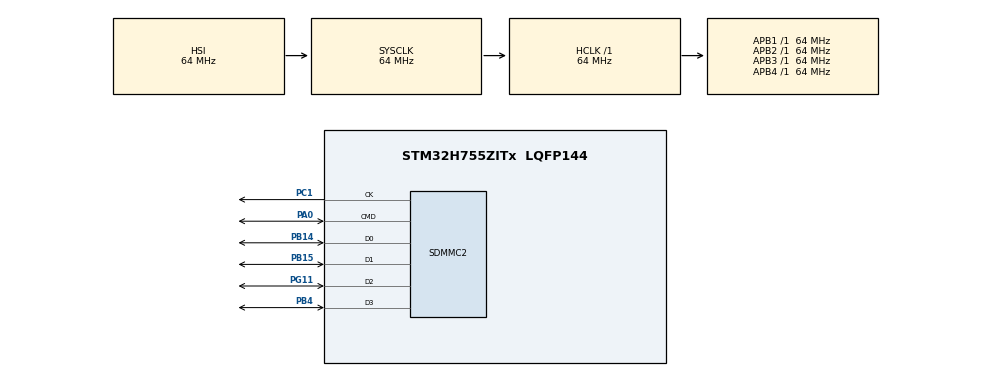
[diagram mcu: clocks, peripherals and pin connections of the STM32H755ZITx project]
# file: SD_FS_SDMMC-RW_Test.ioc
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CORTEX_M7.default_mode_Activation=1
CortexM4.IPs=CORTEX_M4\:I,FATFS_M4\:I,FREERTOS_M4\:I,IWDG2\:I,OPENAMP_M4\:I,PDM2PCM_M4\:I,PWR,RCC,RESMGR_UTILITY,SYS_M4\:I,USB_DEVICE_M4\:I,USB_HOST_M4\:I,VREFBUF,WWDG2\:I,GPIO,DMA,BDMA,MDMA,NVIC2\:I
CortexM7.IPs=CORTEX_M7\:I,FATFS_M7\:I,FREERTOS_M7\:I,IWDG1\:I,OPENAMP_M7\:I,PDM2PCM_M7\:I,PWR\:I,RCC\:I,RESMGR_UTILITY\:I,SYS\:I,USB_DEVICE_M7\:I,USB_HOST_M7\:I,VREFBUF\:I,WWDG1\:I,GPIO\:I,DMA\:I,BDMA\:I,MDMA\:I,NVIC1\:I,SDMMC2\:I
FATFS_M7._MAX_SS=4096
FATFS_M7._USE_LFN=1
Mcu.Family=STM32H7
Mcu.Name=STM32H755ZITx
Mcu.Package=LQFP144
NVIC1.PriorityGroup=NVIC_PRIORITYGROUP_4
NVIC2.PriorityGroup=NVIC_PRIORITYGROUP_4
PA0.Mode=SD_4_bits_Wide_bus
PA0.PinAttribute=CortexM7
PA0.Signal=SDMMC2_CMD
PB14.Mode=SD_4_bits_Wide_bus
PB14.PinAttribute=CortexM7
PB14.Signal=SDMMC2_D0
PB15.Mode=SD_4_bits_Wide_bus
PB15.PinAttribute=CortexM7
PB15.Signal=SDMMC2_D1
PB4\ (NJTRST).Mode=SD_4_bits_Wide_bus
PB4\ (NJTRST).PinAttribute=CortexM7
PB4\ (NJTRST).Signal=SDMMC2_D3
PC1.Mode=SD_4_bits_Wide_bus
PC1.PinAttribute=CortexM7
PC1.Signal=SDMMC2_CK
PG11.Mode=SD_4_bits_Wide_bus
PG11.PinAttribute=CortexM7
PG11.Signal=SDMMC2_D2
ProjectManager.HeapSize=M4-0x200,M7-0x600
ProjectManager.StackSize=M4-0x400,M7-0x800
ProjectManager.TargetToolchain=STM32CubeIDE
RCC.ADCFreq_Value=129000000
RCC.APB1Freq_Value=64000000
RCC.APB2Freq_Value=64000000
RCC.APB3Freq_Value=64000000
RCC.APB4Freq_Value=64000000
RCC.CortexFreq_Value=64000000
RCC.DIVM1=4
RCC.DIVN1=9
RCC.HCLKFreq_Value=64000000
RCC.PLLFRACN=3072
RCC.SYSCLKFreq_VALUE=64000000
RCC.USBFreq_Value=75000000
SDMMC2.ClockDiv=8
SYS.userName=SYS_M7
VP_FATFS_M7_VS_SDIO.Mode=SDIO
VP_SYS_M4_VS_Systick.Mode=SysTick
board=custom

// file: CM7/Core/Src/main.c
/* USER CODE BEGIN Header */
/**
  ******************************************************************************
  * @file           : main.c
  * @brief          : Main program body
  ******************************************************************************
  * @attention
  *
  * Copyright (c) 2026 STMicroelectronics.
  * All rights reserved.
  *
  * This software is licensed under terms that can be found in the LICENSE file
  * in the root directory of this software component.
  * If no LICENSE file comes with this software, it is provided AS-IS.
  *
  ******************************************************************************
  */
/* USER CODE END Header */
#include "main.h"
#include "fatfs.h"
#include "sdmmc.h"
#include "gpio.h"
//#include "usb_device.h"
//#include "usbd_cdc_if.h"
#include <stdio.h>
#include <string.h>

/* USER CODE BEGIN PD */

/* DUAL_CORE_BOOT_SYNC_SEQUENCE:
 * Define for dual core bot synchronization
 * demonstration code based on hardware semaphore
 * This define is present in both CM7/CM4 projects
 * To comment when developping/debugging on a single core
 * */

// Re-enable once CM4 firmware is flashed and coordinating with CM7.
//#define DUAL_CORE_BOOT_SYNC_SEQUENCE

#if defined(DUAL_CORE_BOOT_SYNC_SEQUENCE)
#ifndef HSEM_ID_0
#define HSEM_ID_0 (0U) /* HW semaphore 0*/
#endif
#endif /* DUAL_CORE_BOOT_SYNC_SEQUENCE */

/* USER CODE END PD */

void SystemClock_Config(void);
static void MPU_Config(void);

/* USER CODE BEGIN 0 */
char TxBuffer[250];
static void SDIO_SDCard_Test(void);
/* USER CODE END 0 */

int main(void)
{

/* USER CODE BEGIN Boot_Mode_Sequence_0 */
#if defined(DUAL_CORE_BOOT_SYNC_SEQUENCE)
  int32_t timeout;
#endif /* DUAL_CORE_BOOT_SYNC_SEQUENCE */
/* USER CODE END Boot_Mode_Sequence_0 */

  /* MPU Configuration--------------------------------------------------------*/
  MPU_Config();

/* USER CODE BEGIN Boot_Mode_Sequence_1 */
#if defined(DUAL_CORE_BOOT_SYNC_SEQUENCE)
  /* Wait until CPU2 boots and enters in stop mode or timeout*/
  timeout = 0xFFFF;
  while((__HAL_RCC_GET_FLAG(RCC_FLAG_D2CKRDY) != RESET) && (timeout-- > 0));
  if ( timeout < 0 )
  {
  Error_Handler();
  }
#endif /* DUAL_CORE_BOOT_SYNC_SEQUENCE */
/* USER CODE END Boot_Mode_Sequence_1 */
  /* MCU Configuration--------------------------------------------------------*/

  /* Reset of all peripherals, Initializes the Flash interface and the Systick. */
  HAL_Init();

  /* Configure the system clock */
  SystemClock_Config();
/* USER CODE BEGIN Boot_Mode_Sequence_2 */
#if defined(DUAL_CORE_BOOT_SYNC_SEQUENCE)
/* When system initialization is finished, Cortex-M7 will release Cortex-M4 by means of
HSEM notification */
/*HW semaphore Clock enable*/
__HAL_RCC_HSEM_CLK_ENABLE();
/*Take HSEM */
HAL_HSEM_FastTake(HSEM_ID_0);
/*Release HSEM in order to notify the CPU2(CM4)*/
HAL_HSEM_Release(HSEM_ID_0,0);
/* wait until CPU2 wakes up from stop mode */
timeout = 0xFFFF;
while((__HAL_RCC_GET_FLAG(RCC_FLAG_D2CKRDY) == RESET) && (timeout-- > 0));
if ( timeout < 0 )
{
Error_Handler();
}
#endif /* DUAL_CORE_BOOT_SYNC_SEQUENCE */
/* USER CODE END Boot_Mode_Sequence_2 */

  /* Initialize all configured peripherals */
  MX_GPIO_Init();
  MX_SDMMC2_SD_Init();
  MX_FATFS_Init();
  /* USER CODE BEGIN 2 */

  //MX_USB_DEVICE_Init();
    // Test The SDIO SD Card Interface
   HAL_Delay(5000); // This delay is not mandatory but it gives me some time to connect the USB cable and open the terminal
   SDIO_SDCard_Test();

  /* USER CODE END 2 */

  /* Infinite loop */
  while (1)
  {

  }
}

void SystemClock_Config(void)
{
  RCC_OscInitTypeDef RCC_OscInitStruct = {0};
  RCC_ClkInitTypeDef RCC_ClkInitStruct = {0};

  /** Supply configuration update enable
  */
  HAL_PWREx_ConfigSupply(PWR_DIRECT_SMPS_SUPPLY);

  /** Configure the main internal regulator output voltage
  */
  __HAL_PWR_VOLTAGESCALING_CONFIG(PWR_REGULATOR_VOLTAGE_SCALE3);

  while(!__HAL_PWR_GET_FLAG(PWR_FLAG_VOSRDY)) {}

  /** Initializes the RCC Oscillators according to the specified parameters
  * in the RCC_OscInitTypeDef structure.
  */
  RCC_OscInitStruct.OscillatorType = RCC_OSCILLATORTYPE_HSI;
  RCC_OscInitStruct.HSIState = RCC_HSI_DIV1;
  RCC_OscInitStruct.HSICalibrationValue = RCC_HSICALIBRATION_DEFAULT;
  RCC_OscInitStruct.PLL.PLLState = RCC_PLL_ON;
  RCC_OscInitStruct.PLL.PLLSource = RCC_PLLSOURCE_HSI;
  RCC_OscInitStruct.PLL.PLLM = 4;
  RCC_OscInitStruct.PLL.PLLN = 9;
  RCC_OscInitStruct.PLL.PLLP = 2;
  RCC_OscInitStruct.PLL.PLLQ = 2;
  RCC_OscInitStruct.PLL.PLLR = 2;
  RCC_OscInitStruct.PLL.PLLRGE = RCC_PLL1VCIRANGE_3;
  RCC_OscInitStruct.PLL.PLLVCOSEL = RCC_PLL1VCOMEDIUM;
  RCC_OscInitStruct.PLL.PLLFRACN = 3072;
  if (HAL_RCC_OscConfig(&RCC_OscInitStruct) != HAL_OK)
  {
    Error_Handler();
  }

  /** Initializes the CPU, AHB and APB buses clocks
  */
  RCC_ClkInitStruct.ClockType = RCC_CLOCKTYPE_HCLK|RCC_CLOCKTYPE_SYSCLK
                              |RCC_CLOCKTYPE_PCLK1|RCC_CLOCKTYPE_PCLK2
                              |RCC_CLOCKTYPE_D3PCLK1|RCC_CLOCKTYPE_D1PCLK1;
  RCC_ClkInitStruct.SYSCLKSource = RCC_SYSCLKSOURCE_HSI;
  RCC_ClkInitStruct.SYSCLKDivider = RCC_SYSCLK_DIV1;
  RCC_ClkInitStruct.AHBCLKDivider = RCC_HCLK_DIV1;
  RCC_ClkInitStruct.APB3CLKDivider = RCC_APB3_DIV1;
  RCC_ClkInitStruct.APB1CLKDivider = RCC_APB1_DIV1;
  RCC_ClkInitStruct.APB2CLKDivider = RCC_APB2_DIV1;
  RCC_ClkInitStruct.APB4CLKDivider = RCC_APB4_DIV1;

  if (HAL_RCC_ClockConfig(&RCC_ClkInitStruct, FLASH_LATENCY_1) != HAL_OK)
  {
    Error_Handler();
  }
}

/* USER CODE BEGIN 4 */
static void SDIO_SDCard_Test(void)
{
  FATFS FatFs;
  FIL Fil;
  FRESULT FR_Status;
  FATFS *FS_Ptr;
  UINT RWC, WWC; // Read/Write Word Counter
  DWORD FreeClusters;
  uint32_t TotalSize, FreeSpace;
  char RW_Buffer[200];
  do
  {
    //------------------[ Mount The SD Card ]--------------------
    FR_Status = f_mount(&FatFs, SDPath, 1);
    if (FR_Status != FR_OK)
    {
      sprintf(TxBuffer, "Error! While Mounting SD Card, Error Code: (%i)\r\n", FR_Status);
      //USB_CDC_Print(TxBuffer);
      break;
    }
    sprintf(TxBuffer, "SD Card Mounted Successfully! \r\n\n");
    //USB_CDC_Print(TxBuffer);
    //------------------[ Get & Print The SD Card Size & Free Space ]--------------------
    f_getfree("", &FreeClusters, &FS_Ptr);
    TotalSize = (uint32_t)((FS_Ptr->n_fatent - 2) * FS_Ptr->csize * 0.5);
    FreeSpace = (uint32_t)(FreeClusters * FS_Ptr->csize * 0.5);
    sprintf(TxBuffer, "Total SD Card Size: %lu Bytes\r\n", TotalSize);
    //USB_CDC_Print(TxBuffer);
    sprintf(TxBuffer, "Free SD Card Space: %lu Bytes\r\n\n", FreeSpace);
    //USB_CDC_Print(TxBuffer);
    //------------------[ Open A Text File For Write & Write Data ]--------------------
    //Open the file
    FR_Status = f_open(&Fil, "MyTextFile.txt", FA_WRITE | FA_READ | FA_CREATE_ALWAYS);
    if(FR_Status != FR_OK)
    {
      sprintf(TxBuffer, "Error! While Creating/Opening A New Text File, Error Code: (%i)\r\n", FR_Status);
      //USB_CDC_Print(TxBuffer);
      break;
    }
    sprintf(TxBuffer, "Text File Created & Opened! Writing Data To The Text File..\r\n\n");
    //USB_CDC_Print(TxBuffer);
    // (1) Write Data To The Text File [ Using f_puts() Function ]
    f_puts("Hello! From STM32 To SD Card Over SDMMC, Using f_puts()\n", &Fil);
    // (2) Write Data To The Text File [ Using f_write() Function ]
    strcpy(RW_Buffer, "Hello! From STM32 To SD Card Over SDMMC, Using f_write()\r\n");
    f_write(&Fil, RW_Buffer, strlen(RW_Buffer), &WWC);
    // Close The File
    f_close(&Fil);
    //------------------[ Open A Text File For Read & Read Its Data ]--------------------
    // Open The File
    FR_Status = f_open(&Fil, "MyTextFile.txt", FA_READ);
    if(FR_Status != FR_OK)
    {
      sprintf(TxBuffer, "Error! While Opening (MyTextFile.txt) File For Read.. \r\n");
      //USB_CDC_Print(TxBuffer);
      break;
    }
    // (1) Read The Text File's Data [ Using f_gets() Function ]
    f_gets(RW_Buffer, sizeof(RW_Buffer), &Fil);
    sprintf(TxBuffer, "Data Read From (MyTextFile.txt) Using f_gets():%s", RW_Buffer);
    //USB_CDC_Print(TxBuffer);
    // (2) Read The Text File's Data [ Using f_read() Function ]
    f_read(&Fil, RW_Buffer, f_size(&Fil), &RWC);
    sprintf(TxBuffer, "Data Read From (MyTextFile.txt) Using f_read():%s", RW_Buffer);
    //USB_CDC_Print(TxBuffer);
    // Close The File
    f_close(&Fil);
    sprintf(TxBuffer, "File Closed! \r\n\n");
    //USB_CDC_Print(TxBuffer);
    //------------------[ Open An Existing Text File, Update Its Content, Read It Back ]--------------------
    // (1) Open The Existing File For Write (Update)
    FR_Status = f_open(&Fil, "MyTextFile.txt", FA_OPEN_EXISTING | FA_WRITE);
    FR_Status = f_lseek(&Fil, f_size(&Fil)); // Move The File Pointer To The EOF (End-Of-File)
    if(FR_Status != FR_OK)
    {
      sprintf(TxBuffer, "Error! While Opening (MyTextFile.txt) File For Update.. \r\n");
      //USB_CDC_Print(TxBuffer);
      break;
    }
    // (2) Write New Line of Text Data To The File
    FR_Status = f_puts("This New Line Was Added During File Update!\r\n", &Fil);
    f_close(&Fil);
    memset(RW_Buffer,'\0',sizeof(RW_Buffer)); // Clear The Buffer
    // (3) Read The Contents of The Text File After The Update
    FR_Status = f_open(&Fil, "MyTextFile.txt", FA_READ); // Open The File For Read
    f_read(&Fil, RW_Buffer, f_size(&Fil), &RWC);
    sprintf(TxBuffer, "Data Read From (MyTextFile.txt) After Update:\r\n%s", RW_Buffer);
    //USB_CDC_Print(TxBuffer);
    f_close(&Fil);
    //------------------[ Delete The Text File ]--------------------
    // Delete The File
    /*
    FR_Status = f_unlink(MyTextFile.txt);
    if (FR_Status != FR_OK){
        sprintf(TxBuffer, "Error! While Deleting The (MyTextFile.txt) File.. \r\n");
        USC_CDC_Print(TxBuffer);
    }
    */
  } while(0);
  //------------------[ Test Complete! Unmount The SD Card ]--------------------
  FR_Status = f_mount(NULL, "", 0);
  if (FR_Status != FR_OK)
  {
      sprintf(TxBuffer, "\r\nError! While Un-mounting SD Card, Error Code: (%i)\r\n", FR_Status);
      //USB_CDC_Print(TxBuffer);
  } else{
      sprintf(TxBuffer, "\r\nSD Card Un-mounted Successfully! \r\n");
      //USB_CDC_Print(TxBuffer);
  }
}
/* USER CODE END 4 */

 /* MPU Configuration */

void MPU_Config(void)
{
  MPU_Region_InitTypeDef MPU_InitStruct = {0};

  /* Disables the MPU */
  HAL_MPU_Disable();

  /** Initializes and configures the Region and the memory to be protected
  */
  MPU_InitStruct.Enable = MPU_REGION_ENABLE;
  MPU_InitStruct.Number = MPU_REGION_NUMBER0;
  MPU_InitStruct.BaseAddress = 0x0;
  MPU_InitStruct.Size = MPU_REGION_SIZE_4GB;
  MPU_InitStruct.SubRegionDisable = 0x87;
  MPU_InitStruct.TypeExtField = MPU_TEX_LEVEL0;
  MPU_InitStruct.AccessPermission = MPU_REGION_NO_ACCESS;
  MPU_InitStruct.DisableExec = MPU_INSTRUCTION_ACCESS_DISABLE;
  MPU_InitStruct.IsShareable = MPU_ACCESS_SHAREABLE;
  MPU_InitStruct.IsCacheable = MPU_ACCESS_NOT_CACHEABLE;
  MPU_InitStruct.IsBufferable = MPU_ACCESS_NOT_BUFFERABLE;

  HAL_MPU_ConfigRegion(&MPU_InitStruct);
  /* Enables the MPU */
  HAL_MPU_Enable(MPU_PRIVILEGED_DEFAULT);

}

void Error_Handler(void)
{
  __disable_irq();
  while (1)
  {
  }
}
